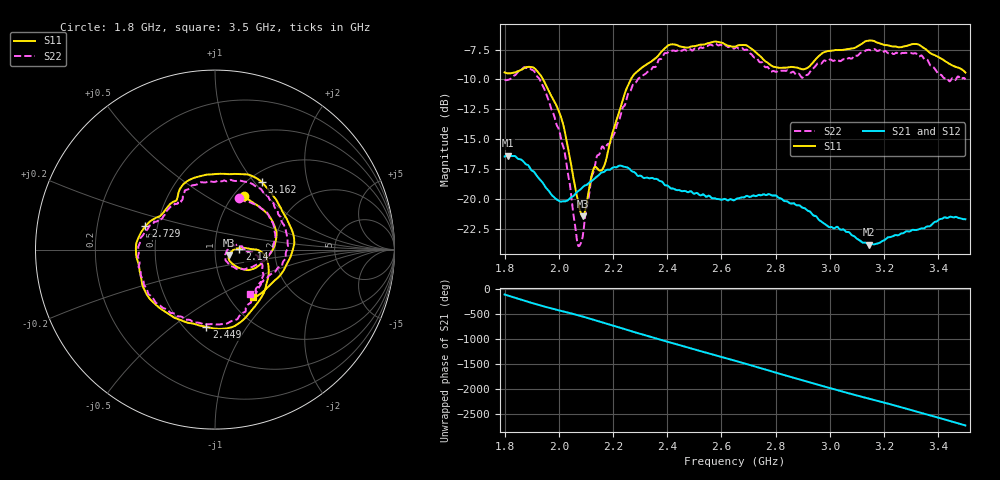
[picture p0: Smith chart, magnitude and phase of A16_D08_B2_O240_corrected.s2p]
! Created with skrf 1.9.0 (http://scikit-rf.org).
# Hz S RI R 50.0
!freq ReS11 ImS11 ReS21 ImS21 ReS12 ImS12 ReS22 ImS22
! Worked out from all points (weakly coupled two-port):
!   1601 points, 1.8 GHz to 3.5 GHz, reference 50 ohm
!   highest |S21| = -16.36 dB at 1.814 GHz (marker M1); lowest = -23.8 dB at 3.144 GHz (marker M2)
!   lowest |S11| = -21.4 dB at 2.089 GHz (marker M3), VSWR 1.19, Z = 58.5 - j3.59 ohm
!   |S11| at or under -10 dB: 1.942 GHz to 2.265 GHz (323.1 MHz wide, 15.4 % of centre)
!   |S22| runs from -23.9 to -7.0 dB; largest |S21 - S12| = 0.003
!   S11 on the Smith chart (normalised r, x): 1.8 GHz: 1.12, +0.75; 2.14 GHz: 1.31, +0.01; 2.449 GHz: 0.63, -0.67; 2.729 GHz: 0.43, +0.13; 3.162 GHz: 1.14, +1.09; 3.5 GHz: 1.27, -0.76
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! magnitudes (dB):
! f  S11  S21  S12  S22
! 1.8 GHz  -9.4  -16.4  -16.4  -10.0
! 1.814 GHz  -9.5  -16.4  -16.4  -10.0
! 1.887 GHz  -9.0  -17.2  -17.2  -9.0
! 1.941 GHz  -10.0  -18.6  -18.6  -10.6
! 2.013 GHz  -13.5  -20.2  -20.2  -15.4
! 2.067 GHz  -19.7  -19.4  -19.4  -23.4
! 2.084 GHz  -21.3  -19.1  -19.1  -23.5
! 2.089 GHz  -21.4  -19.0  -19.0  -23.0
! 2.14 GHz  -17.4  -18.1  -18.1  -16.4
! 2.168 GHz  -17.2  -17.7  -17.7  -15.8
! 2.266 GHz  -10.0  -17.6  -17.6  -10.8
! 2.367 GHz  -8.0  -18.4  -18.4  -8.4
! 2.449 GHz  -7.3  -19.3  -19.3  -7.6
! 2.65 GHz  -7.3  -20.0  -20.0  -7.4
! 2.729 GHz  -7.8  -19.7  -19.8  -8.2
! 2.802 GHz  -9.0  -19.7  -19.8  -9.4
! 2.934 GHz  -8.7  -21.2  -21.2  -9.2
! 3.144 GHz  -6.7  -23.8  -23.7  -7.5
! 3.162 GHz  -6.8  -23.8  -23.7  -7.5
! 3.217 GHz  -7.2  -23.2  -23.2  -7.8
! 3.326 GHz  -7.1  -22.5  -22.5  -8.0
! 3.5 GHz  -9.4  -21.7  -21.7  -10.0
